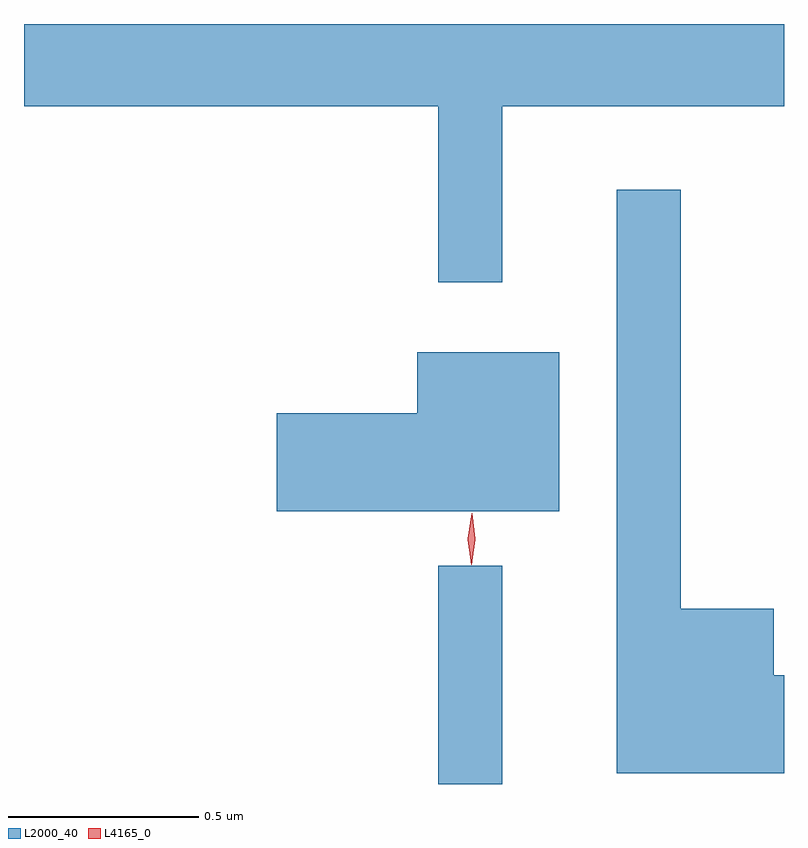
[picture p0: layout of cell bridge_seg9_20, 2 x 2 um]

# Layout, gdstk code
import gdstk
lib = gdstk.Library(unit=1e-6, precision=1e-09)
def R(c, l, rs):  # rectangles x0, y0, x1, y1
    for r in rs: c.add(gdstk.rectangle(r[:2], r[2:], *l))
def P(c, l, *ps):  # polygons
    for p in ps: c.add(gdstk.Polygon(p, *l))
L2000_40 = (2000, 40)
L4165_0 = (4165, 0)

bridge_seg9_20 = lib.new_cell('bridge_seg9_20')
R(bridge_seg9_20, L2000_40, [(1529.591,2065.513,1529.759,2066.088)])
P(bridge_seg9_20, L2000_40, [(1529.759,2067.296),(1530.501,2067.296),(1530.501,2067.513),(1528.501,2067.513),(1528.501,2067.296),(1529.591,2067.296),(1529.591,2066.833),(1529.759,2066.833)],
  [(1530.501,2065.799),(1530.474,2065.799),(1530.474,2065.974),(1530.229,2065.974),(1530.229,2067.077),(1530.061,2067.077),(1530.061,2065.541),(1530.501,2065.541)],
  [(1529.909,2066.649),(1529.536,2066.649),(1529.536,2066.489),(1529.166,2066.489),(1529.166,2066.231),(1529.909,2066.231)])
P(bridge_seg9_20, L4165_0, [(1529.678,2066.09),(1529.678,2066.09),(1529.669,2066.158),(1529.679,2066.225),(1529.68,2066.226),(1529.68,2066.225),(1529.689,2066.158),(1529.679,2066.09)],
  [(1529.678,2066.093),(1529.678,2066.093),(1529.669,2066.156),(1529.68,2066.219),(1529.68,2066.22),(1529.681,2066.219),(1529.689,2066.156),(1529.679,2066.093)])

lib.write_gds('bridge_seg9_20.gds')
